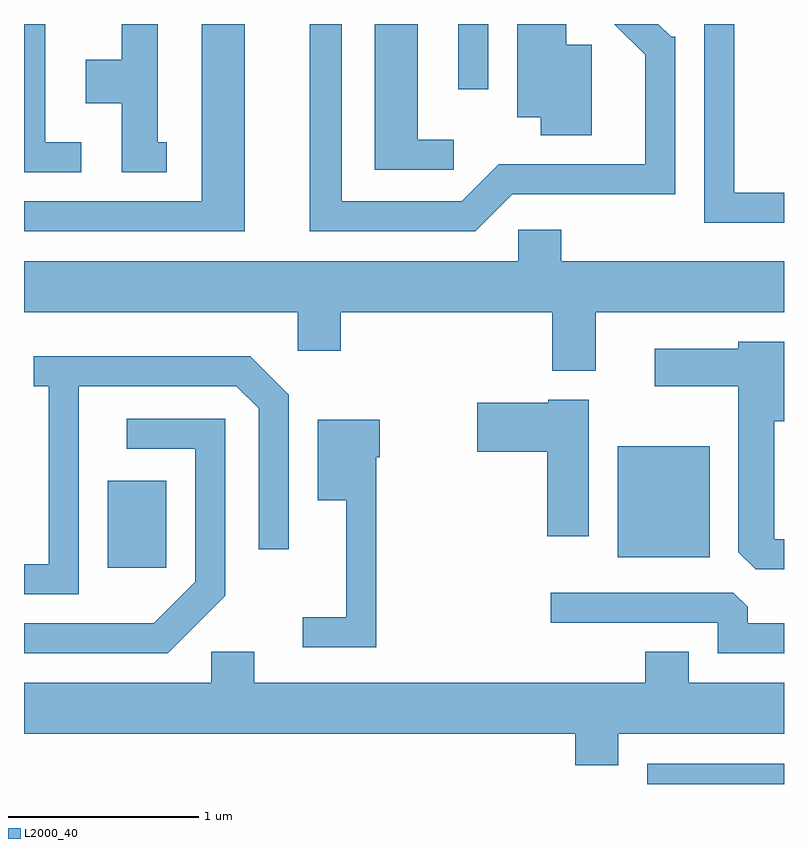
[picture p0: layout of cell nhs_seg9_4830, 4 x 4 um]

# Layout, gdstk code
import gdstk
lib = gdstk.Library(unit=1e-6, precision=1e-09)
def R(c, l, rs):  # rectangles x0, y0, x1, y1
    for r in rs: c.add(gdstk.rectangle(r[:2], r[2:], *l))
def P(c, l, *ps):  # polygons
    for p in ps: c.add(gdstk.Polygon(p, *l))
L2000_40 = (2000, 40)

nhs_seg9_4830 = lib.new_cell('nhs_seg9_4830')
R(nhs_seg9_4830, L2000_40, [(330.891,2000.432,331.611,2000.539), (328.051,2001.571,328.359,2002.029), (330.736,2001.626,331.219,2002.209), (329.896,2004.088,330.054,2004.432)])
P(nhs_seg9_4830, L2000_40, [(331.611,2003.544),(331.349,2003.544),(331.349,2004.432),(331.191,2004.432),(331.191,2003.386),(331.611,2003.386)],
  [(328.363,2003.809),(328.314,2003.809),(328.314,2004.432),(328.126,2004.432),(328.126,2004.244),(327.936,2004.244),(327.936,2004.016),(328.126,2004.016),(328.126,2003.651),(328.363,2003.651)],
  [(327.913,2003.809),(327.724,2003.809),(327.724,2004.432),(327.611,2004.432),(327.611,2003.651),(327.913,2003.651)],
  [(329.873,2003.824),(329.684,2003.824),(329.684,2004.432),(329.456,2004.432),(329.456,2003.666),(329.873,2003.666)],
  [(330.599,2004.324),(330.464,2004.324),(330.464,2004.432),(330.206,2004.432),(330.206,2003.941),(330.331,2003.941),(330.331,2003.846),(330.599,2003.846)],
  [(330.182,2003.536),(331.039,2003.536),(331.039,2004.364),(331.017,2004.364),(330.949,2004.432),(330.718,2004.432),(330.881,2004.269),(330.881,2003.694),(330.109,2003.694),(329.914,2003.499),(329.284,2003.499),(329.284,2004.432),(329.116,2004.432),(329.116,2003.341),(329.987,2003.341)],
  [(328.774,2004.432),(328.546,2004.432),(328.546,2003.499),(327.611,2003.499),(327.611,2003.341),(328.774,2003.341)],
  [(330.619,2002.916),(331.611,2002.916),(331.611,2003.184),(330.439,2003.184),(330.439,2003.349),(330.211,2003.349),(330.211,2003.184),(327.611,2003.184),(327.611,2002.916),(329.051,2002.916),(329.051,2002.711),(329.279,2002.711),(329.279,2002.916),(330.391,2002.916),(330.391,2002.606),(330.619,2002.606)],
  [(331.611,2001.719),(331.559,2001.719),(331.559,2002.341),(331.611,2002.341),(331.611,2002.759),(331.371,2002.759),(331.371,2002.724),(330.931,2002.724),(330.931,2002.526),(331.371,2002.526),(331.371,2001.652),(331.462,2001.561),(331.611,2001.561)],
  [(327.899,2002.526),(328.729,2002.526),(328.846,2002.409),(328.846,2001.668),(329.004,2001.668),(329.004,2002.482),(328.802,2002.684),(327.663,2002.684),(327.663,2002.526),(327.741,2002.526),(327.741,2001.589),(327.611,2001.589),(327.611,2001.431),(327.899,2001.431)],
  [(330.584,2002.454),(330.37,2002.454),(330.37,2002.439),(329.996,2002.439),(329.996,2002.181),(330.366,2002.181),(330.366,2001.736),(330.584,2001.736)],
  [(328.669,2001.424),(328.669,2002.354),(328.153,2002.354),(328.153,2002.196),(328.511,2002.196),(328.511,2001.497),(328.294,2001.279),(327.611,2001.279),(327.611,2001.121),(328.367,2001.121)],
  [(329.464,2002.151),(329.484,2002.151),(329.484,2002.349),(329.156,2002.349),(329.156,2001.926),(329.306,2001.926),(329.306,2001.309),(329.078,2001.309),(329.078,2001.151),(329.464,2001.151)],
  [(331.611,2001.279),(331.419,2001.279),(331.419,2001.364),(331.344,2001.439),(330.383,2001.439),(330.383,2001.281),(331.261,2001.281),(331.261,2001.121),(331.611,2001.121)],
  [(330.739,2000.696),(331.611,2000.696),(331.611,2000.964),(331.109,2000.964),(331.109,2001.129),(330.881,2001.129),(330.881,2000.964),(328.824,2000.964),(328.824,2001.129),(328.596,2001.129),(328.596,2000.964),(327.611,2000.964),(327.611,2000.696),(330.511,2000.696),(330.511,2000.531),(330.739,2000.531)])

lib.write_gds('nhs_seg9_4830.gds')
